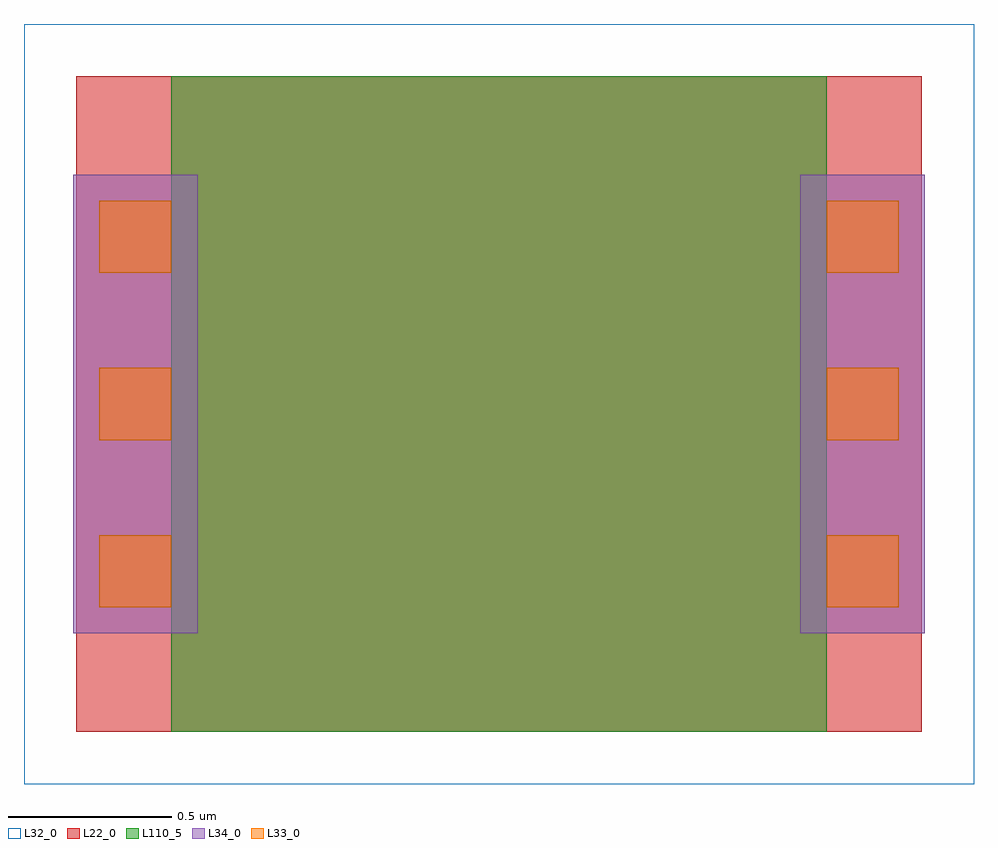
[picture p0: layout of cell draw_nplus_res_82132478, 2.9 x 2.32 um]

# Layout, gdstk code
import gdstk
lib = gdstk.Library(unit=1e-6, precision=1e-09)
def R(c, l, rs):  # rectangles x0, y0, x1, y1
    for r in rs: c.add(gdstk.rectangle(r[:2], r[2:], *l))
def A(c, l, x, y, w, h, nx, ny, dx, dy):  # array of equal rectangles
    R(c, l, [(x+i*dx, y+j*dy, x+i*dx+w, y+j*dy+h) for i in range(nx) for j in range(ny)])
L22_0 = (22, 0)
L32_0 = (32, 0)
L33_0 = (33, 0)
L34_0 = (34, 0)
L110_5 = (110, 5)

draw_nplus_res_82132478 = lib.new_cell('draw_nplus_res_82132478')
R(draw_nplus_res_82132478, L22_0, [(-0.29,0,2.29,2)])
R(draw_nplus_res_82132478, L32_0, [(-0.45,-0.16,2.45,2.16)])
A(draw_nplus_res_82132478, L33_0, -0.22, 0.38, 0.22, 0.22, 1, 3, 0, 0.51)
A(draw_nplus_res_82132478, L33_0, 2, 0.38, 0.22, 0.22, 1, 3, 0, 0.51)
R(draw_nplus_res_82132478, L34_0, [(-0.3,0.3,0.08,1.7), (1.92,0.3,2.3,1.7)])
R(draw_nplus_res_82132478, L110_5, [(0,0,2,2)])

lib.write_gds('draw_nplus_res_82132478.gds')
